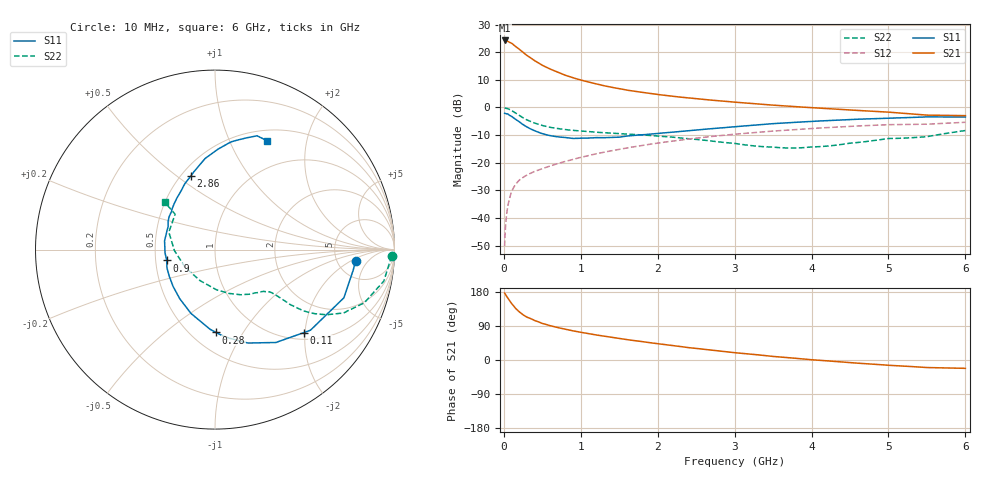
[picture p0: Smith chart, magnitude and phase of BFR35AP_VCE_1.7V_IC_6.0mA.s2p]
! Infineon Technologies  Discrete & RF Semiconductors
! BFR35AP
! VCE =  1.7 V,  IC =  6.0 mA
! Common Emitter S-Parameters:  Nov 2015
# GHz  S  MA  R  50
!  f  S11  S21  S12  S22
! GHz  MAG  ANG  MAG  ANG  MAG  ANG  MAG  ANG
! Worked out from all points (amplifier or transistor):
!   210 points, 10 MHz to 6 GHz, reference 50 ohm
!   highest |S21| = 24.3 dB at 10 MHz (marker M1)
!   |S21| within 3 dB of that: start of sweep to 191.8 MHz
!   unconditionally stable (mu >= 1): 689.6 MHz to 4.165 GHz; 5.232 GHz to 5.906 GHz
!   at 185 MHz: K = 0.43, MSG = 24.1 dB, |S12| = -26.7 dB
!   at 1.52 GHz: K = 1.15, MAG = 8.5 dB, |S12| = -15.0 dB
!   at 6 GHz: K = 1.00, MSG = 1.2 dB, |S12| = -5.3 dB
!   S11 on the Smith chart (normalised r, x): 10 MHz: 7.55, -2.44; 110 MHz: 1.15, -1.96; 280 MHz: 0.66, -0.77; 900 MHz: 0.57, -0.08; 2.86 GHz: 0.56, +0.56; 6 GHz: 0.63, +1.39
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0.01  0.7862 -4.5  16.32 176.8  0.0031 90.4  0.987 -2.1
0.025  0.7741 -10.5  16.06 171.6  0.0081 83.4  0.9715 -5.3
0.05  0.7667 -20.5  15.8 163.7  0.0159 79.4  0.9566 -10.6
0.1  0.6961 -40.2  14.61 149.1  0.03 70.7  0.8834 -19.6
0.11  0.6764 -43.2  14.2 146.9  0.032 69.0  0.8654 -20.8
0.15  0.6187 -56.8  12.81 136.6  0.0403 64.0  0.7977 -26.3
0.2  0.5519 -70.6  11.34 127.1  0.0484 60.4  0.7199 -30.3
0.24  0.5009 -80.6  10.2 120.9  0.0532 58.0  0.6636 -32.6
0.28  0.4616 -89.2  9.213 115.7  0.0578 56.8  0.6176 -34.1
0.3  0.445 -93.5  8.755 113.1  0.06 56.3  0.5963 -34.8
0.4  0.3804 -110.5  7.039 104.2  0.0698 55.3  0.5226 -36.1
0.5  0.3368 -125.7  5.808 96.5  0.0781 55.4  0.4719 -36.4
0.7  0.295 -149.8  4.338 85.5  0.0966 56.7  0.4155 -36.9
0.9  0.2757 -167.3  3.437 76.9  0.1158 57.1  0.3855 -37.7
1.02  0.2788 -177.6  3.088 72.4  0.1272 57.3  0.3737 -38.8
1.4  0.2877 158.7  2.318 59.9  0.165 56.4  0.3441 -43.5
2.02  0.3402 132.4  1.706 42.5  0.2291 51.7  0.3023 -55.6
2.86  0.4313 108.2  1.301 22.5  0.3149 42.7  0.2334 -81.8
3.1  0.4604 103.2  1.218 17.5  0.3376 39.5  0.214 -92.7
4.1  0.5697 86.7  0.973 -0.7  0.4249 26.6  0.1956 -155.9
5.1  0.6465 74.3  0.804 -15.0  0.4903 12.7  0.2762 154.9
6  0.6723 64.6  0.712 -22.0  0.5404 2.7  0.3833 136.7
